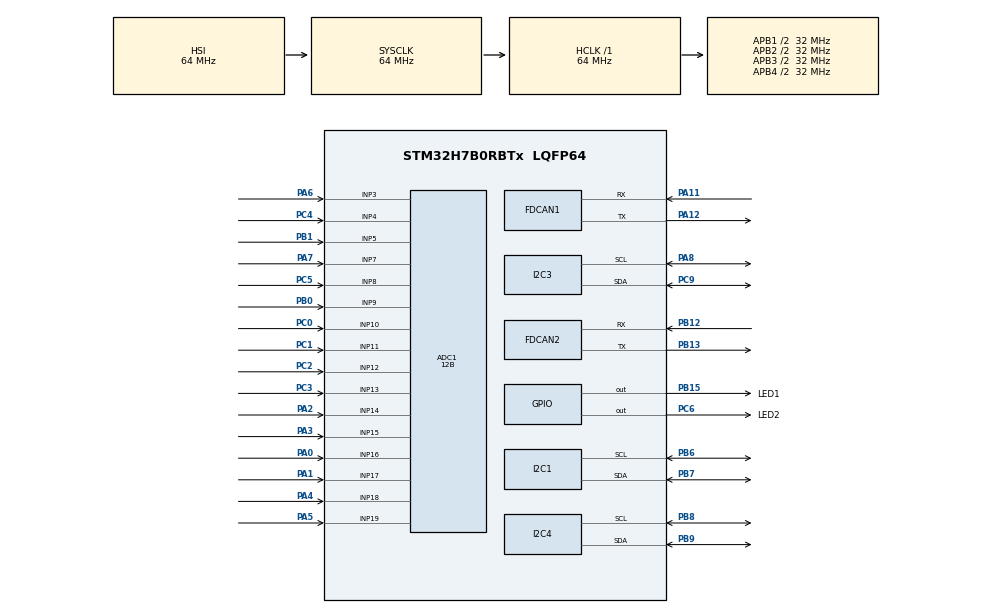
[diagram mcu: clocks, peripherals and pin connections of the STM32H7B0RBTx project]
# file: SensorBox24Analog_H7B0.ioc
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ADC1.Channel-0\#ChannelRegularConversion=ADC_CHANNEL_3
ADC1.Channel-1\#ChannelRegularConversion=ADC_CHANNEL_4
ADC1.Channel-10\#ChannelRegularConversion=ADC_CHANNEL_14
ADC1.Channel-11\#ChannelRegularConversion=ADC_CHANNEL_15
ADC1.Channel-12\#ChannelRegularConversion=ADC_CHANNEL_16
ADC1.Channel-13\#ChannelRegularConversion=ADC_CHANNEL_17
ADC1.Channel-14\#ChannelRegularConversion=ADC_CHANNEL_18
ADC1.Channel-15\#ChannelRegularConversion=ADC_CHANNEL_19
ADC1.Channel-2\#ChannelRegularConversion=ADC_CHANNEL_5
ADC1.Channel-3\#ChannelRegularConversion=ADC_CHANNEL_7
ADC1.Channel-4\#ChannelRegularConversion=ADC_CHANNEL_8
ADC1.Channel-5\#ChannelRegularConversion=ADC_CHANNEL_9
ADC1.Channel-6\#ChannelRegularConversion=ADC_CHANNEL_10
ADC1.Channel-7\#ChannelRegularConversion=ADC_CHANNEL_11
ADC1.Channel-8\#ChannelRegularConversion=ADC_CHANNEL_12
ADC1.Channel-9\#ChannelRegularConversion=ADC_CHANNEL_13
ADC1.ClockPrescaler=ADC_CLOCK_ASYNC_DIV4
ADC1.ContinuousConvMode=ENABLE
ADC1.ConversionDataManagement=ADC_CONVERSIONDATA_DMA_CIRCULAR
ADC1.EOCSelection=ADC_EOC_SINGLE_CONV
ADC1.NbrOfConversion=16
ADC1.NbrOfConversionFlag=1
ADC1.OffsetNumber-0\#ChannelRegularConversion=ADC_OFFSET_NONE
ADC1.OffsetNumber-1\#ChannelRegularConversion=ADC_OFFSET_NONE
ADC1.OffsetNumber-10\#ChannelRegularConversion=ADC_OFFSET_NONE
ADC1.OffsetNumber-11\#ChannelRegularConversion=ADC_OFFSET_NONE
ADC1.OffsetNumber-12\#ChannelRegularConversion=ADC_OFFSET_NONE
ADC1.OffsetNumber-13\#ChannelRegularConversion=ADC_OFFSET_NONE
ADC1.OffsetNumber-14\#ChannelRegularConversion=ADC_OFFSET_NONE
ADC1.OffsetNumber-15\#ChannelRegularConversion=ADC_OFFSET_NONE
ADC1.OffsetNumber-2\#ChannelRegularConversion=ADC_OFFSET_NONE
ADC1.OffsetNumber-3\#ChannelRegularConversion=ADC_OFFSET_NONE
ADC1.OffsetNumber-4\#ChannelRegularConversion=ADC_OFFSET_NONE
ADC1.OffsetNumber-5\#ChannelRegularConversion=ADC_OFFSET_NONE
ADC1.OffsetNumber-6\#ChannelRegularConversion=ADC_OFFSET_NONE
ADC1.OffsetNumber-7\#ChannelRegularConversion=ADC_OFFSET_NONE
ADC1.OffsetNumber-8\#ChannelRegularConversion=ADC_OFFSET_NONE
ADC1.OffsetNumber-9\#ChannelRegularConversion=ADC_OFFSET_NONE
ADC1.OffsetSignedSaturation-0\#ChannelRegularConversion=DISABLE
ADC1.OffsetSignedSaturation-1\#ChannelRegularConversion=DISABLE
ADC1.OffsetSignedSaturation-2\#ChannelRegularConversion=DISABLE
ADC1.OffsetSignedSaturation-3\#ChannelRegularConversion=DISABLE
ADC1.OffsetSignedSaturation-4\#ChannelRegularConversion=DISABLE
ADC1.OffsetSignedSaturation-5\#ChannelRegularConversion=DISABLE
ADC1.OffsetSignedSaturation-6\#ChannelRegularConversion=DISABLE
ADC1.OffsetSignedSaturation-7\#ChannelRegularConversion=DISABLE
ADC1.OffsetSignedSaturation-8\#ChannelRegularConversion=DISABLE
ADC1.OffsetSignedSaturation-9\#ChannelRegularConversion=DISABLE
ADC1.Rank-0\#ChannelRegularConversion=1
ADC1.Rank-1\#ChannelRegularConversion=2
ADC1.Rank-10\#ChannelRegularConversion=11
ADC1.Rank-11\#ChannelRegularConversion=12
ADC1.Rank-12\#ChannelRegularConversion=13
ADC1.Rank-13\#ChannelRegularConversion=14
ADC1.Rank-14\#ChannelRegularConversion=15
ADC1.Rank-15\#ChannelRegularConversion=16
ADC1.Rank-2\#ChannelRegularConversion=3
ADC1.Rank-3\#ChannelRegularConversion=4
ADC1.Rank-4\#ChannelRegularConversion=5
ADC1.Rank-5\#ChannelRegularConversion=6
ADC1.Rank-6\#ChannelRegularConversion=7
ADC1.Rank-7\#ChannelRegularConversion=8
ADC1.Rank-8\#ChannelRegularConversion=9
ADC1.Rank-9\#ChannelRegularConversion=10
ADC1.Resolution=ADC_RESOLUTION_12B
ADC1.SamplingTime-0\#ChannelRegularConversion=ADC_SAMPLETIME_32CYCLES_5
ADC1.SamplingTime-1\#ChannelRegularConversion=ADC_SAMPLETIME_32CYCLES_5
ADC1.SamplingTime-10\#ChannelRegularConversion=ADC_SAMPLETIME_32CYCLES_5
ADC1.SamplingTime-11\#ChannelRegularConversion=ADC_SAMPLETIME_32CYCLES_5
ADC1.SamplingTime-12\#ChannelRegularConversion=ADC_SAMPLETIME_32CYCLES_5
ADC1.SamplingTime-13\#ChannelRegularConversion=ADC_SAMPLETIME_32CYCLES_5
ADC1.SamplingTime-14\#ChannelRegularConversion=ADC_SAMPLETIME_32CYCLES_5
ADC1.SamplingTime-15\#ChannelRegularConversion=ADC_SAMPLETIME_32CYCLES_5
ADC1.SamplingTime-2\#ChannelRegularConversion=ADC_SAMPLETIME_32CYCLES_5
ADC1.SamplingTime-3\#ChannelRegularConversion=ADC_SAMPLETIME_32CYCLES_5
ADC1.SamplingTime-4\#ChannelRegularConversion=ADC_SAMPLETIME_32CYCLES_5
ADC1.SamplingTime-5\#ChannelRegularConversion=ADC_SAMPLETIME_32CYCLES_5
ADC1.SamplingTime-6\#ChannelRegularConversion=ADC_SAMPLETIME_32CYCLES_5
ADC1.SamplingTime-7\#ChannelRegularConversion=ADC_SAMPLETIME_32CYCLES_5
ADC1.SamplingTime-8\#ChannelRegularConversion=ADC_SAMPLETIME_32CYCLES_5
ADC1.SamplingTime-9\#ChannelRegularConversion=ADC_SAMPLETIME_32CYCLES_5
ADC1.master=1
Dma.ADC1.0.Direction=DMA_PERIPH_TO_MEMORY
Dma.ADC1.0.EventEnable=DISABLE
Dma.ADC1.0.FIFOMode=DMA_FIFOMODE_DISABLE
Dma.ADC1.0.Instance=DMA1_Stream0
Dma.ADC1.0.MemDataAlignment=DMA_MDATAALIGN_HALFWORD
Dma.ADC1.0.MemInc=DMA_MINC_ENABLE
Dma.ADC1.0.Mode=DMA_CIRCULAR
Dma.ADC1.0.PeriphDataAlignment=DMA_PDATAALIGN_HALFWORD
Dma.ADC1.0.PeriphInc=DMA_PINC_DISABLE
Dma.ADC1.0.Polarity=HAL_DMAMUX_REQ_GEN_RISING
Dma.ADC1.0.Priority=DMA_PRIORITY_LOW
Dma.ADC1.0.RequestNumber=1
Dma.ADC1.0.SignalID=NONE
Dma.ADC1.0.SyncEnable=DISABLE
Dma.ADC1.0.SyncPolarity=HAL_DMAMUX_SYNC_NO_EVENT
Dma.ADC1.0.SyncRequestNumber=1
Dma.ADC1.0.SyncSignalID=NONE
Dma.Request0=ADC1
FDCAN1.AutoRetransmission=ENABLE
FDCAN1.CalculateBaudRateNominal=1000000
FDCAN1.CalculateTimeBitNominal=1000
FDCAN1.CalculateTimeQuantumNominal=40.0
FDCAN1.ClockCalibrationCCU=DISABLE
FDCAN1.NominalPrescaler=1
FDCAN1.NominalTimeSeg1=22
FDCAN1.StdFiltersNbr=28
FDCAN1.TxFifoQueueElmtsNbr=2
FDCAN2.CalculateBaudRateNominal=1000000
FDCAN2.CalculateTimeBitNominal=1000
FDCAN2.CalculateTimeQuantumNominal=40.0
FDCAN2.NominalPrescaler=1
FDCAN2.NominalTimeSeg1=22
I2C1.Timing=0x00707CBB
I2C3.Timing=0x00707CBB
I2C4.Timing=0x00707CBB
Mcu.Family=STM32H7
Mcu.Name=STM32H7B0RBTx
Mcu.Package=LQFP64
NVIC.DMA1_Stream0_IRQn=true\:0\:0\:false\:false\:true\:false\:true\:true
NVIC.FDCAN1_IT0_IRQn=true\:0\:0\:false\:false\:true\:true\:true\:true
NVIC.PriorityGroup=NVIC_PRIORITYGROUP_4
NVIC.RCC_IRQn=true\:0\:0\:false\:false\:true\:true\:false\:true
NVIC.TIM3_IRQn=true\:0\:0\:false\:false\:true\:true\:true\:true
PA0.Mode=IN16-Single-Ended
PA0.Signal=ADC1_INP16
PA1.Mode=IN17-Single-Ended
PA1.Signal=ADC1_INP17
PA11.Mode=FDCAN_Activate
PA11.Signal=FDCAN1_RX
PA12.Mode=FDCAN_Activate
PA12.Signal=FDCAN1_TX
PA13.Mode=Serial_Wire
PA13.Signal=DEBUG_JTMS-SWDIO
PA14.Mode=Serial_Wire
PA14.Signal=DEBUG_JTCK-SWCLK
PA2.Signal=ADCx_INP14
PA3.Mode=IN15-Single-Ended
PA3.Signal=ADC1_INP15
PA4.Signal=ADCx_INP18
PA5.Signal=ADCx_INP19
PA6.Signal=ADCx_INP3
PA7.Signal=ADCx_INP7
PA8.Mode=I2C
PA8.Signal=I2C3_SCL
PB0.Signal=ADCx_INP9
PB1.Signal=ADCx_INP5
PB12.Mode=FDCAN_Activate
PB12.Signal=FDCAN2_RX
PB13.Mode=FDCAN_Activate
PB13.Signal=FDCAN2_TX
PB15.GPIO_Label=LED1
PB15.Signal=GPIO_Output
PB6.Mode=I2C
PB6.Signal=I2C1_SCL
PB7.Mode=I2C
PB7.Signal=I2C1_SDA
PB8.Mode=I2C
PB8.Signal=I2C4_SCL
PB9.Mode=I2C
PB9.Signal=I2C4_SDA
PC0.Signal=ADCx_INP10
PC1.Signal=ADCx_INP11
PC2.Signal=ADCx_INP12
PC3.Signal=ADCx_INP13
PC4.Signal=ADCx_INP4
PC5.Signal=ADCx_INP8
PC6.GPIO_Label=LED2
PC6.Signal=GPIO_Output
PC9.Mode=I2C
PC9.Signal=I2C3_SDA
PH0-OSC_IN.Mode=HSE-External-Oscillator
PH0-OSC_IN.Signal=RCC_OSC_IN
PH1-OSC_OUT.Mode=HSE-External-Oscillator
PH1-OSC_OUT.Signal=RCC_OSC_OUT
ProjectManager.HeapSize=0x200
ProjectManager.StackSize=0x400
ProjectManager.TargetToolchain=STM32CubeIDE
RCC.ADCFreq_Value=50000000
RCC.APB1Freq_Value=32000000
RCC.APB2Freq_Value=32000000
RCC.APB3Freq_Value=32000000
RCC.APB4Freq_Value=32000000
RCC.CDPPRE=RCC_APB3_DIV2
RCC.CDPPRE1=RCC_APB1_DIV2
RCC.CDPPRE2=RCC_APB2_DIV2
RCC.CortexFreq_Value=64000000
RCC.DIVM1=2
RCC.DIVM2=2
RCC.DIVN1=32
RCC.DIVN2=32
RCC.DIVP2=8
RCC.DIVQ1=25
RCC.DIVQ2=25
RCC.FDCANCLockSelection=RCC_FDCANCLKSOURCE_HSE
RCC.HCLKFreq_Value=64000000
RCC.HSE_VALUE=25000000
RCC.PLL2FRACN=0
RCC.PLL3FRACN=0
RCC.PLLFRACN=0
RCC.PLLSourceVirtual=RCC_PLLSOURCE_HSE
RCC.RCC_TIM_PRescaler_Selection=RCC_TIMPRES_DESACTIVATED
RCC.SRDPPRE=RCC_APB4_DIV2
RCC.SYSCLKFreq_VALUE=64000000
RCC.USBFreq_Value=16000000
SH.ADCx_INP10.0=ADC1_INP10,IN10-Single-Ended
SH.ADCx_INP11.0=ADC1_INP11,IN11-Single-Ended
SH.ADCx_INP12.0=ADC1_INP12,IN12-Single-Ended
SH.ADCx_INP13.0=ADC1_INP13,IN13-Single-Ended
SH.ADCx_INP14.0=ADC1_INP14,IN14-Single-Ended
SH.ADCx_INP18.0=ADC1_INP18,IN18-Single-Ended
SH.ADCx_INP19.0=ADC1_INP19,IN19-Single-Ended
SH.ADCx_INP3.0=ADC1_INP3,IN3-Single-Ended
SH.ADCx_INP4.0=ADC1_INP4,IN4-Single-Ended
SH.ADCx_INP5.0=ADC1_INP5,IN5-Single-Ended
SH.ADCx_INP7.0=ADC1_INP7,IN7-Single-Ended
SH.ADCx_INP8.0=ADC1_INP8,IN8-Single-Ended
SH.ADCx_INP9.0=ADC1_INP9,IN9-Single-Ended
TIM3.Period=999
TIM3.Prescaler=63
VP_TIM3_VS_ClockSourceINT.Mode=Internal
board=custom

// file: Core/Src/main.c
/* USER CODE BEGIN Header */
/**
  ******************************************************************************
  * @file           : main.c
  * @brief          : Main program body
  ******************************************************************************
  * @attention
  *
  * Copyright (c) 2024 STMicroelectronics.
  * All rights reserved.
  *
  * This software is licensed under terms that can be found in the LICENSE file
  * in the root directory of this software component.
  * If no LICENSE file comes with this software, it is provided AS-IS.
  *
  ******************************************************************************
  */
/* USER CODE END Header */
#include "main.h"

/* USER CODE BEGIN Includes */

#include <stdio.h>
#include <string.h>
/* USER CODE END Includes */

ADC_HandleTypeDef hadc1;
DMA_HandleTypeDef hdma_adc1;

FDCAN_HandleTypeDef hfdcan1;
FDCAN_HandleTypeDef hfdcan2;

I2C_HandleTypeDef hi2c1;
I2C_HandleTypeDef hi2c3;
I2C_HandleTypeDef hi2c4;

TIM_HandleTypeDef htim3;

/* USER CODE BEGIN PV */
Sensor sensors[16];

uint16_t ADC1Data[16];
uint16_t all_raw_data[16][ROLLING_AVE];

uint8_t AVE_POS = 0;
uint16_t CAN_interval = 0;
uint16_t init_can_id = 1;
uint16_t CAN_ID[16];
uint16_t millis;
uint8_t CAN_enable = 0;

FDCAN_TxHeaderTypeDef TxHeader;
FDCAN_RxHeaderTypeDef RxHeader;
CAN_Message RxMessage;
CAN_Message TxMessage;

/* USER CODE END PV */

void SystemClock_Config(void);
static void MX_GPIO_Init(void);
static void MX_DMA_Init(void);
static void MX_FDCAN1_Init(void);
static void MX_FDCAN2_Init(void);
static void MX_I2C1_Init(void);
static void MX_I2C3_Init(void);
static void MX_ADC1_Init(void);
static void MX_I2C4_Init(void);
static void MX_TIM3_Init(void);
/* USER CODE BEGIN PFP */
void HAL_ADC_ConvCpltCallback(ADC_HandleTypeDef* hadc);
/* USER CODE END PFP */

int main(void)
{

  /* MCU Configuration--------------------------------------------------------*/

  /* Reset of all peripherals, Initializes the Flash interface and the Systick. */
  HAL_Init();

  /* Configure the system clock */
  SystemClock_Config();

  /* USER CODE BEGIN SysInit */
  Config_Setup();
  /* USER CODE END SysInit */

  /* Initialize all configured peripherals */
  MX_GPIO_Init();
  MX_DMA_Init();
  MX_FDCAN1_Init();
  MX_FDCAN2_Init();
  MX_I2C1_Init();
  MX_I2C3_Init();
  MX_ADC1_Init();
  MX_I2C4_Init();
  MX_TIM3_Init();
  /* USER CODE BEGIN 2 */
  if(HAL_TIM_Base_Start_IT(&htim3) != HAL_OK){ Error_Handler(); };
  if(HAL_ADC_Start_DMA(&hadc1, (uint32_t *)ADC1Data, hadc1.Init.NbrOfConversion) != HAL_OK){ Error_Handler(); }
  if(HAL_FDCAN_Start(&hfdcan1)!= HAL_OK){ Error_Handler(); }else{ HAL_GPIO_WritePin(LED1_GPIO_Port,LED1_Pin, SET); CAN_enable = 1;}
  if(HAL_FDCAN_ActivateNotification(&hfdcan1, FDCAN_IT_RX_FIFO0_NEW_MESSAGE,0) != HAL_OK) { Error_Handler(); }

  uint8_t counter = 0;
  /* USER CODE END 2 */

  /* Infinite loop */
  /* USER CODE BEGIN WHILE */
  while (1)
  {
	  if(CAN_enable == 1){
		  if(millis % CAN_interval == 0){
			  print(counter);
			  counter++;
			  if(counter == 16){
				  HAL_GPIO_TogglePin(LED2_GPIO_Port,LED2_Pin);
				  counter = 0;
			  }
		  }
		 // TxHeader.Identifier = 17;
	  }
    /* USER CODE END WHILE */

  }
}

void SystemClock_Config(void)
{
  RCC_OscInitTypeDef RCC_OscInitStruct = {0};
  RCC_ClkInitTypeDef RCC_ClkInitStruct = {0};

  /*AXI clock gating */
  RCC->CKGAENR = 0xFFFFFFFF;

  /** Supply configuration update enable
  */
  HAL_PWREx_ConfigSupply(PWR_LDO_SUPPLY);

  /** Configure the main internal regulator output voltage
  */
  __HAL_PWR_VOLTAGESCALING_CONFIG(PWR_REGULATOR_VOLTAGE_SCALE3);

  while(!__HAL_PWR_GET_FLAG(PWR_FLAG_VOSRDY)) {}

  /** Macro to configure the PLL clock source
  */
  __HAL_RCC_PLL_PLLSOURCE_CONFIG(RCC_PLLSOURCE_HSE);

  /** Initializes the RCC Oscillators according to the specified parameters
  * in the RCC_OscInitTypeDef structure.
  */
  RCC_OscInitStruct.OscillatorType = RCC_OSCILLATORTYPE_HSI|RCC_OSCILLATORTYPE_HSE;
  RCC_OscInitStruct.HSEState = RCC_HSE_ON;
  RCC_OscInitStruct.HSIState = RCC_HSI_DIV1;
  RCC_OscInitStruct.HSICalibrationValue = 64;
  RCC_OscInitStruct.PLL.PLLState = RCC_PLL_NONE;
  if (HAL_RCC_OscConfig(&RCC_OscInitStruct) != HAL_OK)
  {
    Error_Handler();
  }

  /** Initializes the CPU, AHB and APB buses clocks
  */
  RCC_ClkInitStruct.ClockType = RCC_CLOCKTYPE_HCLK|RCC_CLOCKTYPE_SYSCLK
                              |RCC_CLOCKTYPE_PCLK1|RCC_CLOCKTYPE_PCLK2
                              |RCC_CLOCKTYPE_D3PCLK1|RCC_CLOCKTYPE_D1PCLK1;
  RCC_ClkInitStruct.SYSCLKSource = RCC_SYSCLKSOURCE_HSI;
  RCC_ClkInitStruct.SYSCLKDivider = RCC_SYSCLK_DIV1;
  RCC_ClkInitStruct.AHBCLKDivider = RCC_HCLK_DIV1;
  RCC_ClkInitStruct.APB3CLKDivider = RCC_APB3_DIV2;
  RCC_ClkInitStruct.APB1CLKDivider = RCC_APB1_DIV2;
  RCC_ClkInitStruct.APB2CLKDivider = RCC_APB2_DIV2;
  RCC_ClkInitStruct.APB4CLKDivider = RCC_APB4_DIV2;

  if (HAL_RCC_ClockConfig(&RCC_ClkInitStruct, FLASH_LATENCY_2) != HAL_OK)
  {
    Error_Handler();
  }
}

static void MX_ADC1_Init(void)
{

  ADC_MultiModeTypeDef multimode = {0};
  ADC_ChannelConfTypeDef sConfig = {0};

  /** Common config
  */
  hadc1.Instance = ADC1;
  hadc1.Init.ClockPrescaler = ADC_CLOCK_ASYNC_DIV4;
  hadc1.Init.Resolution = ADC_RESOLUTION_12B;
  hadc1.Init.ScanConvMode = ADC_SCAN_ENABLE;
  hadc1.Init.EOCSelection = ADC_EOC_SINGLE_CONV;
  hadc1.Init.LowPowerAutoWait = DISABLE;
  hadc1.Init.ContinuousConvMode = ENABLE;
  hadc1.Init.NbrOfConversion = 16;
  hadc1.Init.DiscontinuousConvMode = DISABLE;
  hadc1.Init.ExternalTrigConv = ADC_SOFTWARE_START;
  hadc1.Init.ExternalTrigConvEdge = ADC_EXTERNALTRIGCONVEDGE_NONE;
  hadc1.Init.ConversionDataManagement = ADC_CONVERSIONDATA_DMA_CIRCULAR;
  hadc1.Init.Overrun = ADC_OVR_DATA_PRESERVED;
  hadc1.Init.LeftBitShift = ADC_LEFTBITSHIFT_NONE;
  hadc1.Init.OversamplingMode = DISABLE;
  if (HAL_ADC_Init(&hadc1) != HAL_OK)
  {
    Error_Handler();
  }

  /** Configure the ADC multi-mode
  */
  multimode.Mode = ADC_MODE_INDEPENDENT;
  if (HAL_ADCEx_MultiModeConfigChannel(&hadc1, &multimode) != HAL_OK)
  {
    Error_Handler();
  }

  /** Configure Regular Channel
  */
  sConfig.Channel = ADC_CHANNEL_3;
  sConfig.Rank = ADC_REGULAR_RANK_1;
  sConfig.SamplingTime = ADC_SAMPLETIME_32CYCLES_5;
  sConfig.SingleDiff = ADC_SINGLE_ENDED;
  sConfig.OffsetNumber = ADC_OFFSET_NONE;
  sConfig.Offset = 0;
  sConfig.OffsetSignedSaturation = DISABLE;
  if (HAL_ADC_ConfigChannel(&hadc1, &sConfig) != HAL_OK)
  {
    Error_Handler();
  }

  /** Configure Regular Channel
  */
  sConfig.Channel = ADC_CHANNEL_4;
  sConfig.Rank = ADC_REGULAR_RANK_2;
  if (HAL_ADC_ConfigChannel(&hadc1, &sConfig) != HAL_OK)
  {
    Error_Handler();
  }

  /** Configure Regular Channel
  */
  sConfig.Channel = ADC_CHANNEL_5;
  sConfig.Rank = ADC_REGULAR_RANK_3;
  if (HAL_ADC_ConfigChannel(&hadc1, &sConfig) != HAL_OK)
  {
    Error_Handler();
  }

  /** Configure Regular Channel
  */
  sConfig.Channel = ADC_CHANNEL_7;
  sConfig.Rank = ADC_REGULAR_RANK_4;
  if (HAL_ADC_ConfigChannel(&hadc1, &sConfig) != HAL_OK)
  {
    Error_Handler();
  }

  /** Configure Regular Channel
  */
  sConfig.Channel = ADC_CHANNEL_8;
  sConfig.Rank = ADC_REGULAR_RANK_5;
  if (HAL_ADC_ConfigChannel(&hadc1, &sConfig) != HAL_OK)
  {
    Error_Handler();
  }

  /** Configure Regular Channel
  */
  sConfig.Channel = ADC_CHANNEL_9;
  sConfig.Rank = ADC_REGULAR_RANK_6;
  if (HAL_ADC_ConfigChannel(&hadc1, &sConfig) != HAL_OK)
  {
    Error_Handler();
  }

  /** Configure Regular Channel
  */
  sConfig.Channel = ADC_CHANNEL_10;
  sConfig.Rank = ADC_REGULAR_RANK_7;
  if (HAL_ADC_ConfigChannel(&hadc1, &sConfig) != HAL_OK)
  {
    Error_Handler();
  }

  /** Configure Regular Channel
  */
  sConfig.Channel = ADC_CHANNEL_11;
  sConfig.Rank = ADC_REGULAR_RANK_8;
  if (HAL_ADC_ConfigChannel(&hadc1, &sConfig) != HAL_OK)
  {
    Error_Handler();
  }

  /** Configure Regular Channel
  */
  sConfig.Channel = ADC_CHANNEL_12;
  sConfig.Rank = ADC_REGULAR_RANK_9;
  if (HAL_ADC_ConfigChannel(&hadc1, &sConfig) != HAL_OK)
  {
    Error_Handler();
  }

  /** Configure Regular Channel
  */
  sConfig.Channel = ADC_CHANNEL_13;
  sConfig.Rank = ADC_REGULAR_RANK_10;
  if (HAL_ADC_ConfigChannel(&hadc1, &sConfig) != HAL_OK)
  {
    Error_Handler();
  }

  /** Configure Regular Channel
  */
  sConfig.Channel = ADC_CHANNEL_14;
  sConfig.Rank = ADC_REGULAR_RANK_11;
  if (HAL_ADC_ConfigChannel(&hadc1, &sConfig) != HAL_OK)
  {
    Error_Handler();
  }

  /** Configure Regular Channel
  */
  sConfig.Channel = ADC_CHANNEL_15;
  sConfig.Rank = ADC_REGULAR_RANK_12;
  if (HAL_ADC_ConfigChannel(&hadc1, &sConfig) != HAL_OK)
  {
    Error_Handler();
  }

  /** Configure Regular Channel
  */
  sConfig.Channel = ADC_CHANNEL_16;
  sConfig.Rank = ADC_REGULAR_RANK_13;
  if (HAL_ADC_ConfigChannel(&hadc1, &sConfig) != HAL_OK)
  {
    Error_Handler();
  }

  /** Configure Regular Channel
  */
  sConfig.Channel = ADC_CHANNEL_17;
  sConfig.Rank = ADC_REGULAR_RANK_14;
  if (HAL_ADC_ConfigChannel(&hadc1, &sConfig) != HAL_OK)
  {
    Error_Handler();
  }

  /** Configure Regular Channel
  */
  sConfig.Channel = ADC_CHANNEL_18;
  sConfig.Rank = ADC_REGULAR_RANK_15;
  if (HAL_ADC_ConfigChannel(&hadc1, &sConfig) != HAL_OK)
  {
    Error_Handler();
  }

  /** Configure Regular Channel
  */
  sConfig.Channel = ADC_CHANNEL_19;
  sConfig.Rank = ADC_REGULAR_RANK_16;
  if (HAL_ADC_ConfigChannel(&hadc1, &sConfig) != HAL_OK)
  {
    Error_Handler();
  }

}

static void MX_FDCAN1_Init(void)
{

  hfdcan1.Instance = FDCAN1;
  hfdcan1.Init.FrameFormat = FDCAN_FRAME_CLASSIC;
  hfdcan1.Init.Mode = FDCAN_MODE_NORMAL;
  hfdcan1.Init.AutoRetransmission = ENABLE;
  hfdcan1.Init.TransmitPause = DISABLE;
  hfdcan1.Init.ProtocolException = DISABLE;
  hfdcan1.Init.NominalPrescaler = 1;
  hfdcan1.Init.NominalSyncJumpWidth = 1;
  hfdcan1.Init.NominalTimeSeg1 = 22;
  hfdcan1.Init.NominalTimeSeg2 = 2;
  hfdcan1.Init.DataPrescaler = 1;
  hfdcan1.Init.DataSyncJumpWidth = 1;
  hfdcan1.Init.DataTimeSeg1 = 1;
  hfdcan1.Init.DataTimeSeg2 = 1;
  hfdcan1.Init.MessageRAMOffset = 0;
  hfdcan1.Init.StdFiltersNbr = 28;
  hfdcan1.Init.ExtFiltersNbr = 0;
  hfdcan1.Init.RxFifo0ElmtsNbr = 0;
  hfdcan1.Init.RxFifo0ElmtSize = FDCAN_DATA_BYTES_8;
  hfdcan1.Init.RxFifo1ElmtsNbr = 0;
  hfdcan1.Init.RxFifo1ElmtSize = FDCAN_DATA_BYTES_8;
  hfdcan1.Init.RxBuffersNbr = 0;
  hfdcan1.Init.RxBufferSize = FDCAN_DATA_BYTES_8;
  hfdcan1.Init.TxEventsNbr = 0;
  hfdcan1.Init.TxBuffersNbr = 0;
  hfdcan1.Init.TxFifoQueueElmtsNbr = 2;
  hfdcan1.Init.TxFifoQueueMode = FDCAN_TX_FIFO_OPERATION;
  hfdcan1.Init.TxElmtSize = FDCAN_DATA_BYTES_8;
  if (HAL_FDCAN_Init(&hfdcan1) != HAL_OK)
  {
    Error_Handler();
  }
  /* USER CODE BEGIN FDCAN1_Init 2 */
  TxHeader.Identifier = 0;
  TxHeader.IdType = FDCAN_STANDARD_ID;
  TxHeader.TxFrameType = FDCAN_DATA_FRAME;
  TxHeader.DataLength = 2;
  TxHeader.ErrorStateIndicator = FDCAN_ESI_ACTIVE;
  TxHeader.BitRateSwitch = FDCAN_BRS_OFF;
  TxHeader.FDFormat = FDCAN_CLASSIC_CAN;
  TxHeader.TxEventFifoControl = FDCAN_NO_TX_EVENTS;
  TxHeader.MessageMarker = 0;

  /* USER CODE END FDCAN1_Init 2 */

}

static void MX_FDCAN2_Init(void)
{

  hfdcan2.Instance = FDCAN2;
  hfdcan2.Init.FrameFormat = FDCAN_FRAME_CLASSIC;
  hfdcan2.Init.Mode = FDCAN_MODE_NORMAL;
  hfdcan2.Init.AutoRetransmission = DISABLE;
  hfdcan2.Init.TransmitPause = DISABLE;
  hfdcan2.Init.ProtocolException = DISABLE;
  hfdcan2.Init.NominalPrescaler = 1;
  hfdcan2.Init.NominalSyncJumpWidth = 1;
  hfdcan2.Init.NominalTimeSeg1 = 22;
  hfdcan2.Init.NominalTimeSeg2 = 2;
  hfdcan2.Init.DataPrescaler = 1;
  hfdcan2.Init.DataSyncJumpWidth = 1;
  hfdcan2.Init.DataTimeSeg1 = 1;
  hfdcan2.Init.DataTimeSeg2 = 1;
  hfdcan2.Init.MessageRAMOffset = 0;
  hfdcan2.Init.StdFiltersNbr = 0;
  hfdcan2.Init.ExtFiltersNbr = 0;
  hfdcan2.Init.RxFifo0ElmtsNbr = 0;
  hfdcan2.Init.RxFifo0ElmtSize = FDCAN_DATA_BYTES_8;
  hfdcan2.Init.RxFifo1ElmtsNbr = 0;
  hfdcan2.Init.RxFifo1ElmtSize = FDCAN_DATA_BYTES_8;
  hfdcan2.Init.RxBuffersNbr = 0;
  hfdcan2.Init.RxBufferSize = FDCAN_DATA_BYTES_8;
  hfdcan2.Init.TxEventsNbr = 0;
  hfdcan2.Init.TxBuffersNbr = 0;
  hfdcan2.Init.TxFifoQueueElmtsNbr = 0;
  hfdcan2.Init.TxFifoQueueMode = FDCAN_TX_FIFO_OPERATION;
  hfdcan2.Init.TxElmtSize = FDCAN_DATA_BYTES_8;
  if (HAL_FDCAN_Init(&hfdcan2) != HAL_OK)
  {
    Error_Handler();
  }
  /* USER CODE BEGIN FDCAN2_Init 2 */
  TxHeader.Identifier = 0;
  TxHeader.IdType = FDCAN_STANDARD_ID;
  TxHeader.TxFrameType = FDCAN_DATA_FRAME;
  TxHeader.DataLength = 2;
  TxHeader.ErrorStateIndicator = FDCAN_ESI_ACTIVE;
  TxHeader.BitRateSwitch = FDCAN_BRS_OFF;
  TxHeader.FDFormat = FDCAN_CLASSIC_CAN;
  TxHeader.TxEventFifoControl = FDCAN_NO_TX_EVENTS;
  TxHeader.MessageMarker = 0;
  /* USER CODE END FDCAN2_Init 2 */

}

static void MX_I2C1_Init(void)
{

  hi2c1.Instance = I2C1;
  hi2c1.Init.Timing = 0x00707CBB;
  hi2c1.Init.OwnAddress1 = 0;
  hi2c1.Init.AddressingMode = I2C_ADDRESSINGMODE_7BIT;
  hi2c1.Init.DualAddressMode = I2C_DUALADDRESS_DISABLE;
  hi2c1.Init.OwnAddress2 = 0;
  hi2c1.Init.OwnAddress2Masks = I2C_OA2_NOMASK;
  hi2c1.Init.GeneralCallMode = I2C_GENERALCALL_DISABLE;
  hi2c1.Init.NoStretchMode = I2C_NOSTRETCH_DISABLE;
  if (HAL_I2C_Init(&hi2c1) != HAL_OK)
  {
    Error_Handler();
  }

  /** Configure Analogue filter
  */
  if (HAL_I2CEx_ConfigAnalogFilter(&hi2c1, I2C_ANALOGFILTER_ENABLE) != HAL_OK)
  {
    Error_Handler();
  }

  /** Configure Digital filter
  */
  if (HAL_I2CEx_ConfigDigitalFilter(&hi2c1, 0) != HAL_OK)
  {
    Error_Handler();
  }

}

static void MX_I2C3_Init(void)
{

  hi2c3.Instance = I2C3;
  hi2c3.Init.Timing = 0x00707CBB;
  hi2c3.Init.OwnAddress1 = 0;
  hi2c3.Init.AddressingMode = I2C_ADDRESSINGMODE_7BIT;
  hi2c3.Init.DualAddressMode = I2C_DUALADDRESS_DISABLE;
  hi2c3.Init.OwnAddress2 = 0;
  hi2c3.Init.OwnAddress2Masks = I2C_OA2_NOMASK;
  hi2c3.Init.GeneralCallMode = I2C_GENERALCALL_DISABLE;
  hi2c3.Init.NoStretchMode = I2C_NOSTRETCH_DISABLE;
  if (HAL_I2C_Init(&hi2c3) != HAL_OK)
  {
    Error_Handler();
  }

  /** Configure Analogue filter
  */
  if (HAL_I2CEx_ConfigAnalogFilter(&hi2c3, I2C_ANALOGFILTER_ENABLE) != HAL_OK)
  {
    Error_Handler();
  }

  /** Configure Digital filter
  */
  if (HAL_I2CEx_ConfigDigitalFilter(&hi2c3, 0) != HAL_OK)
  {
    Error_Handler();
  }

}

static void MX_I2C4_Init(void)
{

  hi2c4.Instance = I2C4;
  hi2c4.Init.Timing = 0x00707CBB;
  hi2c4.Init.OwnAddress1 = 0;
  hi2c4.Init.AddressingMode = I2C_ADDRESSINGMODE_7BIT;
  hi2c4.Init.DualAddressMode = I2C_DUALADDRESS_DISABLE;
  hi2c4.Init.OwnAddress2 = 0;
  hi2c4.Init.OwnAddress2Masks = I2C_OA2_NOMASK;
  hi2c4.Init.GeneralCallMode = I2C_GENERALCALL_DISABLE;
  hi2c4.Init.NoStretchMode = I2C_NOSTRETCH_DISABLE;
  if (HAL_I2C_Init(&hi2c4) != HAL_OK)
  {
    Error_Handler();
  }

  /** Configure Analogue filter
  */
  if (HAL_I2CEx_ConfigAnalogFilter(&hi2c4, I2C_ANALOGFILTER_ENABLE) != HAL_OK)
  {
    Error_Handler();
  }

  /** Configure Digital filter
  */
  if (HAL_I2CEx_ConfigDigitalFilter(&hi2c4, 0) != HAL_OK)
  {
    Error_Handler();
  }

}

static void MX_TIM3_Init(void)
{

  TIM_ClockConfigTypeDef sClockSourceConfig = {0};
  TIM_MasterConfigTypeDef sMasterConfig = {0};

  htim3.Instance = TIM3;
  htim3.Init.Prescaler = 63;
  htim3.Init.CounterMode = TIM_COUNTERMODE_UP;
  htim3.Init.Period = 999;
  htim3.Init.ClockDivision = TIM_CLOCKDIVISION_DIV1;
  htim3.Init.AutoReloadPreload = TIM_AUTORELOAD_PRELOAD_DISABLE;
  if (HAL_TIM_Base_Init(&htim3) != HAL_OK)
  {
    Error_Handler();
  }
  sClockSourceConfig.ClockSource = TIM_CLOCKSOURCE_INTERNAL;
  if (HAL_TIM_ConfigClockSource(&htim3, &sClockSourceConfig) != HAL_OK)
  {
    Error_Handler();
  }
  sMasterConfig.MasterOutputTrigger = TIM_TRGO_RESET;
  sMasterConfig.MasterSlaveMode = TIM_MASTERSLAVEMODE_DISABLE;
  if (HAL_TIMEx_MasterConfigSynchronization(&htim3, &sMasterConfig) != HAL_OK)
  {
    Error_Handler();
  }

}

static void MX_DMA_Init(void)
{

  /* DMA controller clock enable */
  __HAL_RCC_DMA1_CLK_ENABLE();

  /* DMA interrupt init */
  /* DMA1_Stream0_IRQn interrupt configuration */
  HAL_NVIC_SetPriority(DMA1_Stream0_IRQn, 0, 0);
  HAL_NVIC_EnableIRQ(DMA1_Stream0_IRQn);

}

static void MX_GPIO_Init(void)
{
  GPIO_InitTypeDef GPIO_InitStruct = {0};

  /* GPIO Ports Clock Enable */
  __HAL_RCC_GPIOH_CLK_ENABLE();
  __HAL_RCC_GPIOC_CLK_ENABLE();
  __HAL_RCC_GPIOA_CLK_ENABLE();
  __HAL_RCC_GPIOB_CLK_ENABLE();

  /*Configure GPIO pin Output Level */
  HAL_GPIO_WritePin(LED1_GPIO_Port, LED1_Pin, GPIO_PIN_RESET);

  /*Configure GPIO pin Output Level */
  HAL_GPIO_WritePin(LED2_GPIO_Port, LED2_Pin, GPIO_PIN_RESET);

  /*Configure GPIO pin : LED1_Pin */
  GPIO_InitStruct.Pin = LED1_Pin;
  GPIO_InitStruct.Mode = GPIO_MODE_OUTPUT_PP;
  GPIO_InitStruct.Pull = GPIO_NOPULL;
  GPIO_InitStruct.Speed = GPIO_SPEED_FREQ_LOW;
  HAL_GPIO_Init(LED1_GPIO_Port, &GPIO_InitStruct);

  /*Configure GPIO pin : LED2_Pin */
  GPIO_InitStruct.Pin = LED2_Pin;
  GPIO_InitStruct.Mode = GPIO_MODE_OUTPUT_PP;
  GPIO_InitStruct.Pull = GPIO_NOPULL;
  GPIO_InitStruct.Speed = GPIO_SPEED_FREQ_LOW;
  HAL_GPIO_Init(LED2_GPIO_Port, &GPIO_InitStruct);

}

/* USER CODE BEGIN 4 */
void HAL_ADC_ConvCpltCallback(ADC_HandleTypeDef* hadc) {
	if(hadc->Instance == ADC1){
		if(AVE_POS < ROLLING_AVE){
			AVE_POS++;
		}
		else{

			AVE_POS = 0;
			for(int i = 0; i < hadc->Init.NbrOfConversion;i++){

				for(int z = 0; z < ROLLING_AVE;z++){
					if(z == 0){
						//averages[i] = all_raw_data[i][0];
            sensors[i].averages = all_raw_data[i][0];
					}else{
						//averages[i]=(averages[i] + all_raw_data[i][z])/2;
            sensors[i].averages = (sensors[i].averages + all_raw_data[i][z])/2;
					}
				}
			}
		}
		for(int j = 0; j < hadc->Init.NbrOfConversion;j++){
			all_raw_data[j][AVE_POS-1] = ADC1Data[j];
		}
	}
}
/* USER CODE END 4 */

void Error_Handler(void)
{
  __disable_irq();
  while (1)
  {
  }
}
